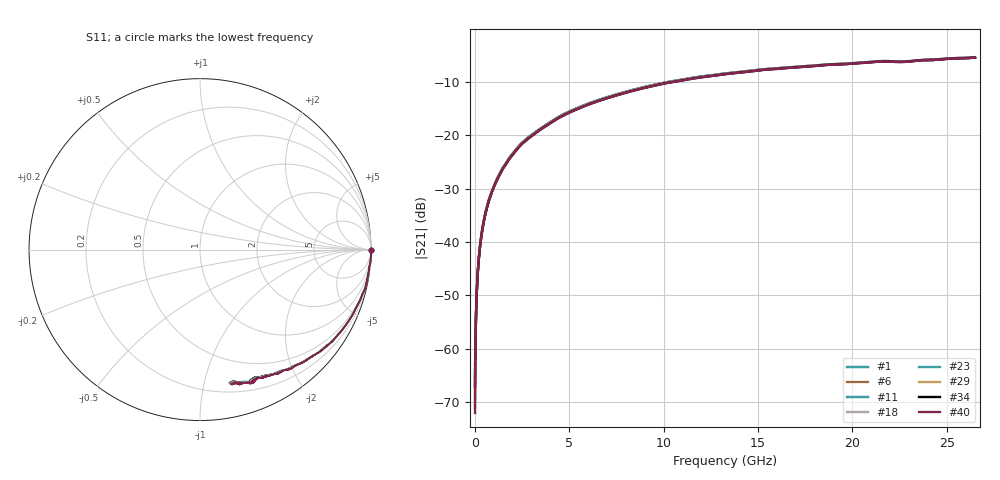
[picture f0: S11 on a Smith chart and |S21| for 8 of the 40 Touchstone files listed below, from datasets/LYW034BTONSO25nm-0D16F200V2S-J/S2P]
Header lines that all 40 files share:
!Keysight Technologies,N5222B,MY61253708,A.15.00.15
!Correction: S11(C  2-Port  )
!S21(C  2-Port  )
!S12(C  2-Port  )
!S22(C  2-Port  )
!S2P File: Measurements: S11, S21, S12, S22:
# Hz S  RI  R 50
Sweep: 10 MHz to 26.5 GHz
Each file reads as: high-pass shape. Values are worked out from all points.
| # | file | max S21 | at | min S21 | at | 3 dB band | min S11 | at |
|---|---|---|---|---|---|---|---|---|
| 1 | LYW034BTONSO25nm_0D16F200V2S_J_80V_dev.s2p | -5.37 dB | 26.5 GHz | -67.3 dB | 10 MHz | 13.38 GHz-26.5 GHz | -2.0 dB | 25.5 GHz |
| 2 | LYW034BTONSO25nm_0D16F200V2S_J_82V_dev.s2p | -5.37 dB | 26.5 GHz | -64.7 dB | 10 MHz | 13.38 GHz-26.5 GHz | -2.0 dB | 25.5 GHz |
| 3 | LYW034BTONSO25nm_0D16F200V2S_J_84V_dev.s2p | -5.37 dB | 26.5 GHz | -77.1 dB | 10 MHz | 13.39 GHz-26.5 GHz | -2.0 dB | 25.5 GHz |
| 4 | LYW034BTONSO25nm_0D16F200V2S_J_86V_dev.s2p | -5.37 dB | 26.5 GHz | -69.5 dB | 10 MHz | 13.39 GHz-26.5 GHz | -2.0 dB | 25.5 GHz |
| 5 | LYW034BTONSO25nm_0D16F200V2S_J_88V_dev.s2p | -5.37 dB | 26.5 GHz | -75.3 dB | 10 MHz | 13.39 GHz-26.5 GHz | -2.0 dB | 25.5 GHz |
| 6 | LYW034BTONSO25nm_0D16F200V2S_J_90V_dev.s2p | -5.38 dB | 26.5 GHz | -63.4 dB | 20 MHz | 13.4 GHz-26.5 GHz | -2.0 dB | 25.5 GHz |
| 7 | LYW034BTONSO25nm_0D16F200V2S_J_92V_dev.s2p | -5.38 dB | 26.5 GHz | -66.5 dB | 10 MHz | 13.4 GHz-26.5 GHz | -2.0 dB | 25.5 GHz |
| 8 | LYW034BTONSO25nm_0D16F200V2S_J_94V_dev.s2p | -5.38 dB | 26.5 GHz | -71.4 dB | 10 MHz | 13.41 GHz-26.5 GHz | -2.0 dB | 25.5 GHz |
| 9 | LYW034BTONSO25nm_0D16F200V2S_J_96V_dev.s2p | -5.38 dB | 26.5 GHz | -67.0 dB | 10 MHz | 13.43 GHz-26.5 GHz | -2.0 dB | 25.5 GHz |
| 10 | LYW034BTONSO25nm_0D16F200V2S_J_98V_dev.s2p | -5.38 dB | 26.5 GHz | -70.3 dB | 10 MHz | 13.44 GHz-26.5 GHz | -2.0 dB | 25.5 GHz |
| 11 | LYW034BTONSO25nm_0D16F200V2S_J_100V_dev.s2p | -5.38 dB | 26.5 GHz | -65.4 dB | 10 MHz | 13.44 GHz-26.5 GHz | -2.0 dB | 25.5 GHz |
| 12 | LYW034BTONSO25nm_0D16F200V2S_J_102V_dev.s2p | -5.38 dB | 26.5 GHz | -66.7 dB | 10 MHz | 13.44 GHz-26.5 GHz | -2.0 dB | 25.5 GHz |
| 13 | LYW034BTONSO25nm_0D16F200V2S_J_104V_dev.s2p | -5.38 dB | 26.5 GHz | -70.3 dB | 10 MHz | 13.44 GHz-26.5 GHz | -2.0 dB | 25.5 GHz |
| 14 | LYW034BTONSO25nm_0D16F200V2S_J_106V_dev.s2p | -5.38 dB | 26.5 GHz | -63.6 dB | 10 MHz | 13.45 GHz-26.5 GHz | -2.0 dB | 25.5 GHz |
| 15 | LYW034BTONSO25nm_0D16F200V2S_J_108V_dev.s2p | -5.38 dB | 26.5 GHz | -68.7 dB | 10 MHz | 13.45 GHz-26.5 GHz | -2.0 dB | 25.5 GHz |
| 16 | LYW034BTONSO25nm_0D16F200V2S_J_110V_dev.s2p | -5.38 dB | 26.5 GHz | -64.2 dB | 20 MHz | 13.45 GHz-26.5 GHz | -2.0 dB | 25.5 GHz |
| 17 | LYW034BTONSO25nm_0D16F200V2S_J_112V_dev.s2p | -5.38 dB | 26.5 GHz | -63.8 dB | 10 MHz | 13.45 GHz-26.5 GHz | -2.0 dB | 25.5 GHz |
| 18 | LYW034BTONSO25nm_0D16F200V2S_J_114V_dev.s2p | -5.38 dB | 26.5 GHz | -69.3 dB | 10 MHz | 13.51 GHz-26.5 GHz | -2.0 dB | 25.5 GHz |
| 19 | LYW034BTONSO25nm_0D16F200V2S_J_116V_dev.s2p | -5.39 dB | 26.5 GHz | -72.1 dB | 10 MHz | 13.51 GHz-26.5 GHz | -2.0 dB | 25.5 GHz |
| 20 | LYW034BTONSO25nm_0D16F200V2S_J_118V_dev.s2p | -5.39 dB | 26.5 GHz | -73.3 dB | 10 MHz | 13.51 GHz-26.5 GHz | -2.0 dB | 25.5 GHz |
| 21 | LYW034BTONSO25nm_0D16F200V2S_J_120V_dev.s2p | -5.39 dB | 26.5 GHz | -65.9 dB | 10 MHz | 13.51 GHz-26.5 GHz | -2.0 dB | 25.5 GHz |
| 22 | LYW034BTONSO25nm_0D16F200V2S_J_122V_dev.s2p | -5.39 dB | 26.5 GHz | -77.3 dB | 10 MHz | 13.52 GHz-26.5 GHz | -2.0 dB | 25.5 GHz |
| 23 | LYW034BTONSO25nm_0D16F200V2S_J_124V_dev.s2p | -5.39 dB | 26.5 GHz | -65.1 dB | 10 MHz | 13.52 GHz-26.5 GHz | -2.0 dB | 25.5 GHz |
| 24 | LYW034BTONSO25nm_0D16F200V2S_J_126V_dev.s2p | -5.39 dB | 26.5 GHz | -75.5 dB | 10 MHz | 13.52 GHz-26.5 GHz | -1.9 dB | 25.5 GHz |
| 25 | LYW034BTONSO25nm_0D16F200V2S_J_128V_dev.s2p | -5.39 dB | 26.5 GHz | -64.3 dB | 10 MHz | 13.52 GHz-26.5 GHz | -1.9 dB | 25.5 GHz |
| 26 | LYW034BTONSO25nm_0D16F200V2S_J_130V_dev.s2p | -5.39 dB | 26.5 GHz | -74.0 dB | 10 MHz | 13.53 GHz-26.5 GHz | -1.9 dB | 25.5 GHz |
| 27 | LYW034BTONSO25nm_0D16F200V2S_J_132V_dev.s2p | -5.40 dB | 26.5 GHz | -64.1 dB | 20 MHz | 13.53 GHz-26.5 GHz | -1.9 dB | 25.5 GHz |
| 28 | LYW034BTONSO25nm_0D16F200V2S_J_134V_dev.s2p | -5.40 dB | 26.5 GHz | -69.4 dB | 10 MHz | 13.55 GHz-26.5 GHz | -1.9 dB | 25.5 GHz |
| 29 | LYW034BTONSO25nm_0D16F200V2S_J_136V_dev.s2p | -5.40 dB | 26.5 GHz | -71.0 dB | 10 MHz | 13.56 GHz-26.5 GHz | -1.9 dB | 25.5 GHz |
| 30 | LYW034BTONSO25nm_0D16F200V2S_J_138V_dev.s2p | -5.40 dB | 26.5 GHz | -67.2 dB | 10 MHz | 13.56 GHz-26.5 GHz | -1.9 dB | 25.5 GHz |
| 31 | LYW034BTONSO25nm_0D16F200V2S_J_140V_dev.s2p | -5.40 dB | 26.5 GHz | -74.7 dB | 10 MHz | 13.56 GHz-26.5 GHz | -1.9 dB | 25.5 GHz |
| 32 | LYW034BTONSO25nm_0D16F200V2S_J_142V_dev.s2p | -5.40 dB | 26.5 GHz | -69.6 dB | 10 MHz | 13.57 GHz-26.5 GHz | -1.9 dB | 25.5 GHz |
| 33 | LYW034BTONSO25nm_0D16F200V2S_J_144V_dev.s2p | -5.41 dB | 26.5 GHz | -69.0 dB | 10 MHz | 13.57 GHz-26.5 GHz | -1.9 dB | 25.5 GHz |
| 34 | LYW034BTONSO25nm_0D16F200V2S_J_146V_dev.s2p | -5.41 dB | 26.5 GHz | -67.1 dB | 10 MHz | 13.57 GHz-26.5 GHz | -1.9 dB | 25.5 GHz |
| 35 | LYW034BTONSO25nm_0D16F200V2S_J_148V_dev.s2p | -5.41 dB | 26.5 GHz | -71.5 dB | 10 MHz | 13.57 GHz-26.5 GHz | -1.9 dB | 25.5 GHz |
| 36 | LYW034BTONSO25nm_0D16F200V2S_J_150V_dev.s2p | -5.41 dB | 26.5 GHz | -73.2 dB | 10 MHz | 13.57 GHz-26.5 GHz | -1.9 dB | 25.5 GHz |
| 37 | LYW034BTONSO25nm_0D16F200V2S_J_152V_dev.s2p | -5.42 dB | 26.5 GHz | -64.7 dB | 10 MHz | 13.57 GHz-26.5 GHz | -1.9 dB | 25.5 GHz |
| 38 | LYW034BTONSO25nm_0D16F200V2S_J_154V_dev.s2p | -5.42 dB | 26.5 GHz | -77.7 dB | 10 MHz | 13.57 GHz-26.5 GHz | -1.9 dB | 25.5 GHz |
| 39 | LYW034BTONSO25nm_0D16F200V2S_J_156V_dev.s2p | -5.42 dB | 26.5 GHz | -65.6 dB | 10 MHz | 13.58 GHz-26.5 GHz | -1.9 dB | 25.5 GHz |
| 40 | LYW034BTONSO25nm_0D16F200V2S_J_158V_dev.s2p | -5.42 dB | 26.5 GHz | -72.1 dB | 10 MHz | 13.58 GHz-26.5 GHz | -1.9 dB | 25.5 GHz |
